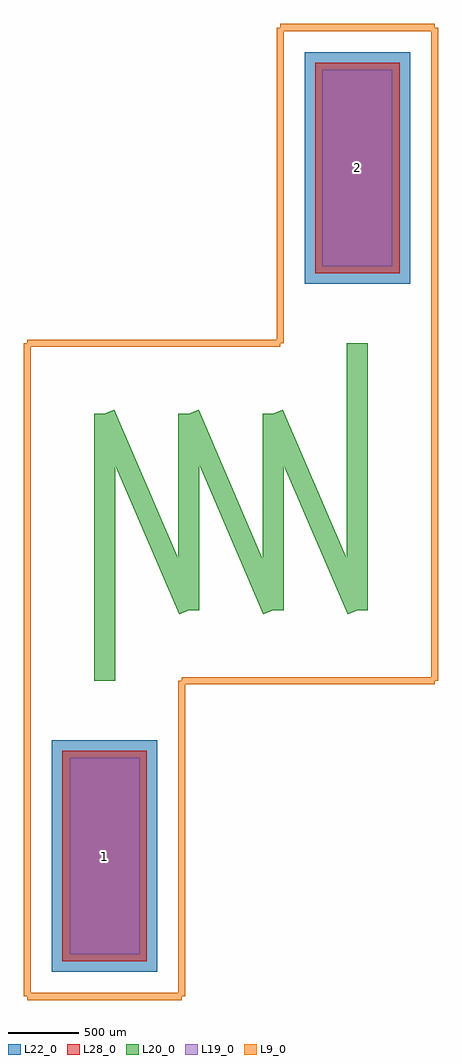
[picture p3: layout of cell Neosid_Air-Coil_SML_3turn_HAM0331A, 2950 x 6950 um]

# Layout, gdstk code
import gdstk
lib = gdstk.Library(unit=1e-6, precision=1e-09)
def R(c, l, rs):  # rectangles x0, y0, x1, y1
    for r in rs: c.add(gdstk.rectangle(r[:2], r[2:], *l))
L9_0 = (9, 0)
L19_0 = (19, 0)
L20_0 = (20, 0)
L22_0 = (22, 0)
L28_0 = (28, 0)

neosid_air_coil_sml_3tur = lib.new_cell('Neosid_Air-Coil_SML_3turn_HAM0331A')
R(neosid_air_coil_sml_3tur, L19_0, [(-1150,-3150,-650,-1750), (650,1750,1150,3150)])
R(neosid_air_coil_sml_3tur, L22_0, [(-1275,-3275,-525,-1625), (525,1625,1275,3275)])
R(neosid_air_coil_sml_3tur, L28_0, [(-1200,-3200,-600,-1700), (600,1700,1200,3200)])
neosid_air_coil_sml_3tur.add(gdstk.FlexPath([(900,1200),(900,-700)], 149.998, ends="flush", simple_path=True, layer=20, datatype=0))  # L20_0
neosid_air_coil_sml_3tur.add(gdstk.FlexPath([(-900,-1200),(-900,700)], 149.998, ends="flush", simple_path=True, layer=20, datatype=0))  # L20_0
neosid_air_coil_sml_3tur.add(gdstk.FlexPath([(300,700),(900,-700)], 149.998, ends="flush", simple_path=True, layer=20, datatype=0))  # L20_0
neosid_air_coil_sml_3tur.add(gdstk.FlexPath([(300,-700),(300,700)], 149.998, ends="flush", simple_path=True, layer=20, datatype=0))  # L20_0
neosid_air_coil_sml_3tur.add(gdstk.FlexPath([(-300,700),(300,-700)], 149.998, ends="flush", simple_path=True, layer=20, datatype=0))  # L20_0
neosid_air_coil_sml_3tur.add(gdstk.FlexPath([(-300,-700),(-300,700)], 149.998, ends="flush", simple_path=True, layer=20, datatype=0))  # L20_0
neosid_air_coil_sml_3tur.add(gdstk.FlexPath([(-900,700),(-300,-700)], 149.998, ends="flush", simple_path=True, layer=20, datatype=0))  # L20_0
neosid_air_coil_sml_3tur.add(gdstk.FlexPath([(-1450,1200),(-1450,-3450)], 50, ends="flush", simple_path=True, layer=9, datatype=0))  # L9_0
neosid_air_coil_sml_3tur.add(gdstk.FlexPath([(350,1200),(-1450,1200)], 50, ends="flush", simple_path=True, layer=9, datatype=0))  # L9_0
neosid_air_coil_sml_3tur.add(gdstk.FlexPath([(350,3450),(350,1200)], 50, ends="flush", simple_path=True, layer=9, datatype=0))  # L9_0
neosid_air_coil_sml_3tur.add(gdstk.FlexPath([(1450,3450),(350,3450)], 50, ends="flush", simple_path=True, layer=9, datatype=0))  # L9_0
neosid_air_coil_sml_3tur.add(gdstk.FlexPath([(1450,-1200),(1450,3450)], 50, ends="flush", simple_path=True, layer=9, datatype=0))  # L9_0
neosid_air_coil_sml_3tur.add(gdstk.FlexPath([(-350,-1200),(1450,-1200)], 50, ends="flush", simple_path=True, layer=9, datatype=0))  # L9_0
neosid_air_coil_sml_3tur.add(gdstk.FlexPath([(-350,-3450),(-350,-1200)], 50, ends="flush", simple_path=True, layer=9, datatype=0))  # L9_0
neosid_air_coil_sml_3tur.add(gdstk.FlexPath([(-1450,-3450),(-350,-3450)], 50, ends="flush", simple_path=True, layer=9, datatype=0))  # L9_0
neosid_air_coil_sml_3tur.add(gdstk.Label('2', (900,2450), layer=28, texttype=0))
neosid_air_coil_sml_3tur.add(gdstk.Label('1', (-900,-2450), layer=28, texttype=0))
neosid_air_coil_sml_3tur.add(gdstk.Label('type', (0,-4500), layer=9, texttype=0))
neosid_air_coil_sml_3tur.add(gdstk.Label('devicename', (0,4500), layer=9, texttype=0))

lib.write_gds('Neosid_Air-Coil_SML_3turn_HAM0331A.gds')
